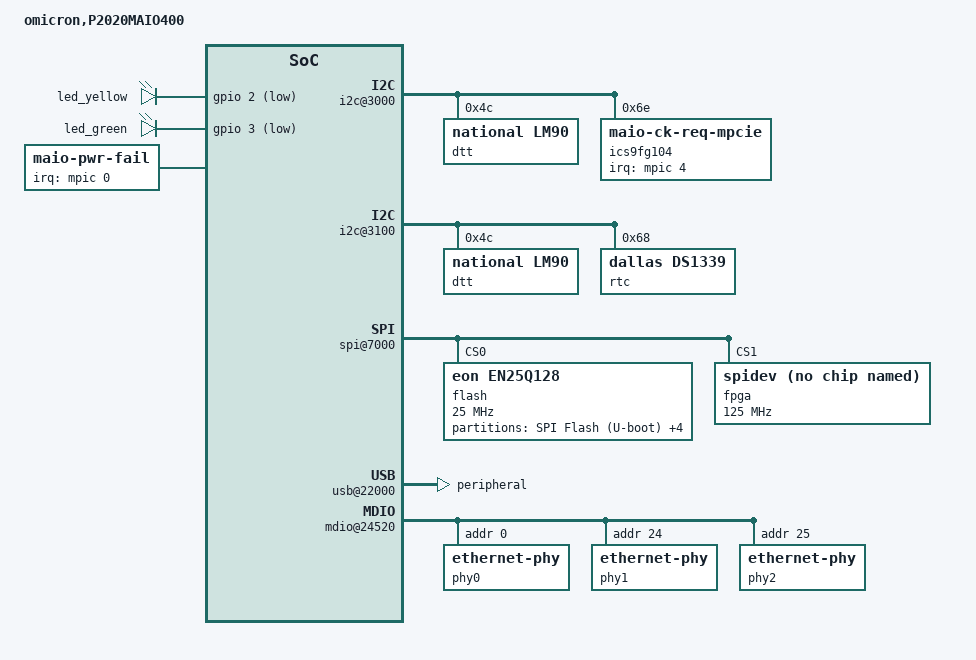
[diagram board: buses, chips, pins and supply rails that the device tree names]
/*
 * P2020 MAIO 400 Device Tree Source
 *
 * Copyright 2012 OMICRON electronics
 *
 * This program is free software; you can redistribute  it and/or modify it
 * under  the terms of  the GNU General  Public License as published by the
 * Free Software Foundation;  either version 2 of the  License, or (at your
 * option) any later version.
 */

/include/ "p2020si.dtsi"

/ {
	model = "omicron,P2020MAIO400";
	compatible = "omicron,maio400";

	aliases {
		ethernet0 = &enet0;
		ethernet1 = &enet1;
		ethernet2 = &enet2;
		serial0 = &serial0;
		serial1 = &serial1;
		pci0 = &pci0;
		pci1 = &pci1;
		pci2 = &pci2;
	};

	memory {
		device_type = "memory";
	};

	soc@ffe00000 {

		i2c@3000 {
			dtt@4c {
				compatible = "national,lm90";
				reg = <0x4c>;
			};
                        ics9fg104@6e {
                                compatible = "maio-ck-req-mpcie";
                                reg = <0x6e>;
                                interrupt-parent = <&mpic>;
                                interrupts = <4 1>;
                        };
		};

		i2c@3100 {
			dtt@4c {
				compatible = "national,lm90";
				reg = <0x4c>;
			};
			rtc@68 {
				compatible = "dallas,ds1339";
				reg = <0x68>;
			};
		};

		spi@7000 {
			flash@0 {
				#address-cells = <1>;
				#size-cells = <1>;
				compatible = "eon,en25q128";
				reg = <0>;
				spi-max-frequency = <25000000>;

				partition@0 {
					/* 1MB, U-boot */
					reg = <0x0 0x0100000>;
					label = "SPI Flash (U-boot)";
				};
				partition@0100000 {
					/* 128 KB, U-boot environment */
					reg = <0x0100000 0x20000>;
					label = "SPI Flash (U-boot env)";
				};
				partition@0120000 {
					/* 128 KB, dtb */
					reg = <0x0120000 0x20000>;
					label = "SPI Flash (dtb)";
				};
				partition@0140000 {
					/* 768 KB, unused */
					reg = <0x0140000 0xC0000>;
					label = "SPI Flash (empty)";
				};
				partition@0200000 {
					/* 14 MB, Linux kernel (+ cpio file system) */
					reg = <0x0200000 0xE00000>;
					label = "SPI Flash (Linux kernel)";
				};
			};

			fpga@1 {
				#address-cells = <1>;
				#size-cells = <1>;
				compatible = "spidev";
				reg = <1>;
				spi-max-frequency = <125000000>;
				linux,modalias = "sdidev";
			};
		};

		usb@22000 {
			#address-cells = <1>;
			#size-cells = <0>;
			compatible = "fsl,p2020-usb2-dr", "fsl-usb2-dr";
			reg = <0x22000 0x1000>;
			interrupt-parent = <&mpic>;
			interrupts = <28 0x2>;
			dr_mode = "peripheral";
			phy_type = "ulpi";
		};

		mdio@24520 {
			phy0: ethernet-phy@0 {
				reg = <0x0>;
				};
			phy1: ethernet-phy@18 {
				reg = <0x18>;
				};
			phy2: ethernet-phy@19 {
				reg = <0x19>;
				};
		};

		mdio@25520 {
			status = "disabled";
		};

		mdio@26520 {
			status = "disabled";
		};

		ptp_clock@24E00 {
			compatible = "fsl,etsec-ptp";
			reg = <0x24E00 0xB0>;
			interrupts = <68 2 69 2 70 2>;
			interrupt-parent = < &mpic >;
			/* Some of these values get overwritten by the
			 * boot-loader! */
			fsl,tclk-cksel = <1>;
			fsl,tclk-bypass = <0>;
			fsl,tclk-period = <5>;
			fsl,tmr-prsc = <200>;
			fsl,tmr-add = <0xCCCCCCCD>;
			fsl,tmr-fiper1 = <0x0001869B>;
			fsl,tmr-fiper2 = <0x3B9AC9FB>;
			fsl,max-adj = <249999999>;
		};

		enet0: ethernet@24000 {
			phy-handle = <&phy0>;
			phy-connection-type = "rgmii-id";
		};

		enet1: ethernet@25000 {
			phy-handle = <&phy1>;
			phy-connection-type = "rgmii-id";
		};

		enet2: ethernet@26000 {
			phy-handle = <&phy2>;
			phy-connection-type = "rgmii-id";
		};

		leds {
			compatible = "gpio-leds";
			led_yellow {
				/* D16, The yellow LED on the edge of the board. */
				gpios = <&gpio 2 1>;
				default-state = "keep";
			};
			led_green {
				/* D17, The green LED on the edge of the board. */
				gpios = <&gpio 3 1>;
				default-state = "keep";
			};
		};

                maio-pwr-fail {
                        compatible = "maio-pwr-fail";
                        interrupt-parent = <&mpic>;
                        interrupts = <0 1>;
                };
	};

	pci0: pcie@ffe08000 {
		ranges = <0x2000000 0x0 0x80000000 0 0x80000000 0x0 0x10000000
			  0x1000000 0x0 0x00000000 0 0xffc00000 0x0 0x10000>;
		interrupt-map-mask = <0xf800 0x0 0x0 0x7>;
		interrupt-map = <
			/* IDSEL 0x0 */
			0000 0x0 0x0 0x1 &mpic 0x8 0x1
			0000 0x0 0x0 0x2 &mpic 0x9 0x1
			0000 0x0 0x0 0x3 &mpic 0xa 0x1
			0000 0x0 0x0 0x4 &mpic 0xb 0x1
			>;
		pcie@0 {
			reg = <0x0 0x0 0x0 0x0 0x0>;
			#size-cells = <2>;
			#address-cells = <3>;
			device_type = "pci";
			ranges = <0x2000000 0x0 0x80000000
				  0x2000000 0x0 0x80000000
				  0x0 0x10000000

				  0x1000000 0x0 0x0
				  0x1000000 0x0 0x0
				  0x0 0x10000>;
		};
	};

	pci1: pcie@ffe09000 {
		ranges = <0x2000000 0x0 0x90000000 0 0x90000000 0x0 0x08000000
			  0x1000000 0x0 0x00000000 0 0xffc10000 0x0 0x10000>;
		interrupt-map-mask = <0xf800 0x0 0x0 0x7>;
		interrupt-map = <
			/* IDSEL 0x0 */
			0000 0x0 0x0 0x1 &mpic 0x4 0x1
			0000 0x0 0x0 0x2 &mpic 0x0 0x1
			0000 0x0 0x0 0x3 &mpic 0x1 0x1
			0000 0x0 0x0 0x4 &mpic 0x7 0x1
			>;
			pcie@0 {
			reg = <0x0 0x0 0x0 0x0 0x0>;
			#size-cells = <2>;
			#address-cells = <3>;
			device_type = "pci";
			ranges = <0x2000000 0x0 0x90000000
				  0x2000000 0x0 0x90000000
				  0x0 0x08000000

				  0x1000000 0x0 0x0
				  0x1000000 0x0 0x0
				  0x0 0x100000>;
		};
	};

	pci2: pcie@ffe0a000 {
		ranges = <0x2000000 0x0 0x98000000 0 0x98000000 0x0 0x08000000
			  0x1000000 0x0 0x00000000 0 0xffc20000 0x0 0x10000>;
		interrupt-map-mask = <0xf800 0x0 0x0 0x7>;
		interrupt-map = <
			/* IDSEL 0x0 */
			0000 0x0 0x0 0x1 &mpic 0x5 0x1
			0000 0x0 0x0 0x2 &mpic 0x6 0x1
			0000 0x0 0x0 0x3 &mpic 0x2 0x1
			0000 0x0 0x0 0x4 &mpic 0x3 0x1
			>;
		pcie@0 {
			reg = <0x0 0x0 0x0 0x0 0x0>;
			#size-cells = <2>;
			#address-cells = <3>;
			device_type = "pci";
			ranges = <0x2000000 0x0 0x98000000
				  0x2000000 0x0 0x98000000
				  0x0 0x08000000

				  0x1000000 0x0 0x0
				  0x1000000 0x0 0x0
				  0x0 0x100000>;
		};
	};
};
